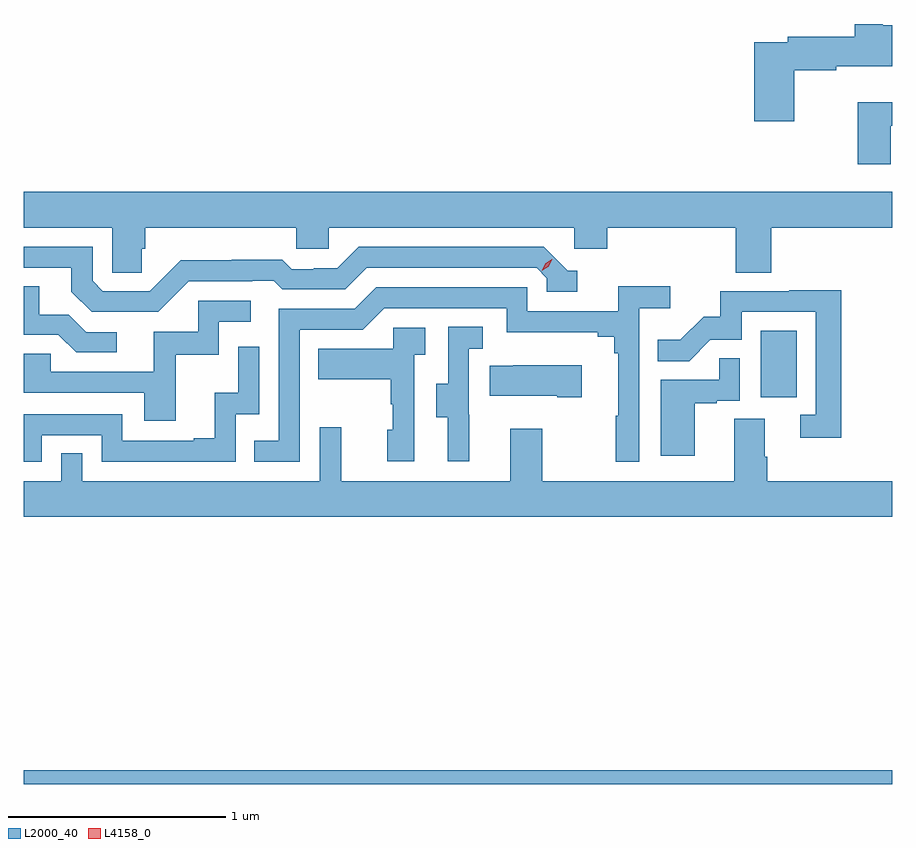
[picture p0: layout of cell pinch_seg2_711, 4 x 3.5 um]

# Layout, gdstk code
import gdstk
lib = gdstk.Library(unit=1e-6, precision=1e-09)
def R(c, l, rs):  # rectangles x0, y0, x1, y1
    for r in rs: c.add(gdstk.rectangle(r[:2], r[2:], *l))
def P(c, l, *ps):  # polygons
    for p in ps: c.add(gdstk.Polygon(p, *l))
L2000_40 = (2000, 40)
L4158_0 = (4158, 0)

pinch_seg2_711 = lib.new_cell('pinch_seg2_711')
R(pinch_seg2_711, L2000_40, [(1117.232,583.8,1121.232,583.864), (1120.628,585.582,1120.792,585.889)])
P(pinch_seg2_711, L2000_40, [(1120.781,587.089),(1120.976,587.089),(1120.976,587.108),(1121.232,587.108),(1121.232,587.296),(1121.19,587.296),(1121.19,587.302),(1121.06,587.302),(1121.06,587.244),(1120.751,587.244),(1120.751,587.218),(1120.598,587.218),(1120.598,586.854),(1120.781,586.854)],
  [(1121.227,586.833),(1121.232,586.833),(1121.232,586.942),(1121.075,586.942),(1121.075,586.656),(1121.227,586.656)],
  [(1117.775,586.266),(1117.79,586.266),(1117.79,586.364),(1118.487,586.364),(1118.487,586.266),(1118.637,586.266),(1118.637,586.364),(1119.768,586.364),(1119.768,586.266),(1119.92,586.266),(1119.92,586.364),(1120.511,586.364),(1120.511,586.156),(1120.676,586.156),(1120.676,586.364),(1121.232,586.364),(1121.232,586.528),(1117.232,586.528),(1117.232,586.364),(1117.638,586.364),(1117.638,586.156),(1117.775,586.156)],
  [(1117.992,586.116),(1118.285,586.116),(1118.285,586.119),(1118.384,586.119),(1118.423,586.08),(1118.712,586.08),(1118.811,586.179),(1119.594,586.179),(1119.642,586.131),(1119.642,586.068),(1119.781,586.068),(1119.781,586.164),(1119.738,586.164),(1119.627,586.275),(1118.774,586.275),(1118.675,586.176),(1118.568,586.176),(1118.568,586.173),(1118.465,586.173),(1118.423,586.216),(1118.19,586.216),(1118.19,586.213),(1117.954,586.213),(1117.812,586.071),(1117.596,586.071),(1117.548,586.119),(1117.548,586.275),(1117.232,586.275),(1117.232,586.179),(1117.451,586.179),(1117.451,586.069),(1117.545,585.975),(1117.851,585.975)],
  [(1117.66,585.882),(1117.518,585.882),(1117.438,585.962),(1117.303,585.962),(1117.303,586.094),(1117.232,586.094),(1117.232,585.87),(1117.391,585.87),(1117.472,585.789),(1117.66,585.789)],
  [(1118.502,585.894),(1118.793,585.894),(1118.892,585.993),(1119.456,585.993),(1119.456,585.881),(1119.875,585.881),(1119.875,585.862),(1119.952,585.862),(1119.952,585.785),(1119.971,585.785),(1119.971,585.497),(1119.96,585.497),(1119.96,585.285),(1120.068,585.285),(1120.068,585.992),(1120.21,585.992),(1120.21,586.094),(1119.971,586.094),(1119.971,585.978),(1119.552,585.978),(1119.552,586.089),(1118.855,586.089),(1118.756,585.99),(1118.406,585.99),(1118.406,585.381),(1118.293,585.381),(1118.293,585.285),(1118.502,585.285)],
  [(1120.997,586.076),(1120.759,586.076),(1120.759,586.071),(1120.441,586.071),(1120.441,585.954),(1120.364,585.954),(1120.257,585.847),(1120.153,585.847),(1120.153,585.748),(1120.297,585.748),(1120.395,585.846),(1120.539,585.846),(1120.539,585.975),(1120.881,585.975),(1120.881,585.501),(1120.809,585.501),(1120.809,585.396),(1120.997,585.396)],
  [(1117.931,585.777),(1118.13,585.777),(1118.13,585.93),(1118.278,585.93),(1118.278,586.026),(1118.034,586.026),(1118.034,585.885),(1117.829,585.885),(1117.829,585.699),(1117.355,585.699),(1117.355,585.783),(1117.232,585.783),(1117.232,585.603),(1117.787,585.603),(1117.787,585.474),(1117.931,585.474)],
  [(1119.284,585.501),(1119.282,585.501),(1119.282,585.805),(1119.346,585.805),(1119.346,585.908),(1119.186,585.908),(1119.186,585.645),(1119.131,585.645),(1119.131,585.49),(1119.185,585.49),(1119.185,585.288),(1119.284,585.288)],
  [(1119.03,585.779),(1119.082,585.779),(1119.082,585.903),(1118.934,585.903),(1118.934,585.805),(1118.587,585.805),(1118.587,585.665),(1118.922,585.665),(1118.922,585.551),(1118.932,585.551),(1118.932,585.432),(1118.906,585.432),(1118.906,585.288),(1119.03,585.288)],
  [(1117.314,585.408),(1117.59,585.408),(1117.59,585.285),(1118.208,585.285),(1118.208,585.504),(1118.316,585.504),(1118.316,585.814),(1118.22,585.814),(1118.22,585.602),(1118.111,585.602),(1118.111,585.394),(1118.015,585.394),(1118.015,585.381),(1117.686,585.381),(1117.686,585.504),(1117.232,585.504),(1117.232,585.285),(1117.314,585.285)],
  [(1120.324,585.555),(1120.424,585.555),(1120.424,585.567),(1120.53,585.567),(1120.53,585.761),(1120.435,585.761),(1120.435,585.663),(1120.166,585.663),(1120.166,585.312),(1120.324,585.312)],
  [(1119.802,585.73),(1119.487,585.73),(1119.487,585.727),(1119.379,585.727),(1119.379,585.59),(1119.689,585.59),(1119.689,585.583),(1119.802,585.583)],
  [(1121.232,585.196),(1120.658,585.196),(1120.658,585.308),(1120.645,585.308),(1120.645,585.482),(1120.505,585.482),(1120.505,585.196),(1119.621,585.196),(1119.621,585.436),(1119.473,585.436),(1119.473,585.196),(1118.693,585.196),(1118.693,585.445),(1118.595,585.445),(1118.595,585.196),(1117.5,585.196),(1117.5,585.323),(1117.404,585.323),(1117.404,585.196),(1117.232,585.196),(1117.232,585.032),(1121.232,585.032)])
P(pinch_seg2_711, L4158_0, [(1119.618,586.164),(1119.618,586.164),(1119.635,586.197),(1119.665,586.217),(1119.666,586.217),(1119.666,586.217),(1119.649,586.184),(1119.619,586.164)])

lib.write_gds('pinch_seg2_711.gds')
